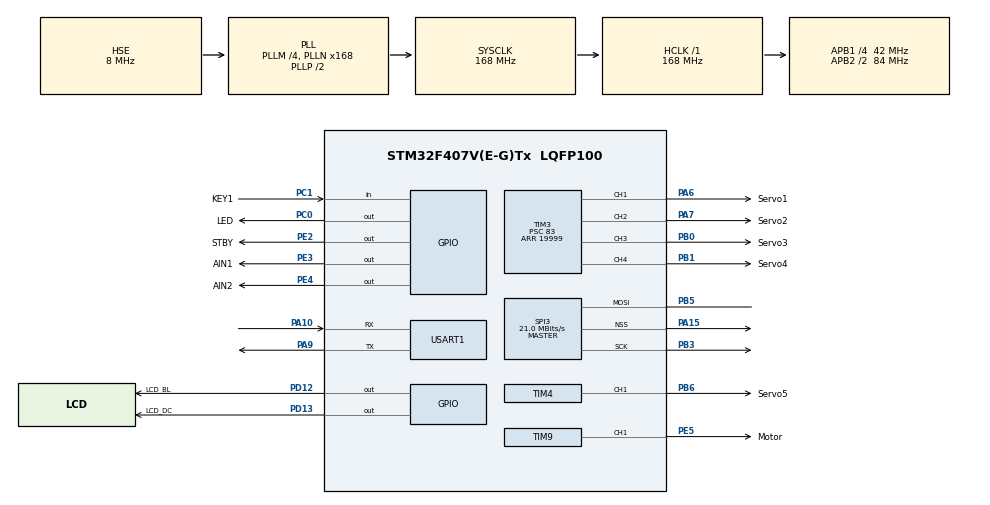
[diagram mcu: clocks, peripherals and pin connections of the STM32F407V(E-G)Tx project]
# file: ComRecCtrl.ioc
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Dma.Request0=SPI3_TX
Dma.SPI3_TX.0.Direction=DMA_MEMORY_TO_PERIPH
Dma.SPI3_TX.0.FIFOMode=DMA_FIFOMODE_DISABLE
Dma.SPI3_TX.0.Instance=DMA1_Stream5
Dma.SPI3_TX.0.MemDataAlignment=DMA_MDATAALIGN_HALFWORD
Dma.SPI3_TX.0.MemInc=DMA_MINC_ENABLE
Dma.SPI3_TX.0.Mode=DMA_NORMAL
Dma.SPI3_TX.0.PeriphDataAlignment=DMA_PDATAALIGN_HALFWORD
Dma.SPI3_TX.0.PeriphInc=DMA_PINC_DISABLE
Dma.SPI3_TX.0.Priority=DMA_PRIORITY_HIGH
Mcu.Family=STM32F4
Mcu.Name=STM32F407V(E-G)Tx
Mcu.Package=LQFP100
NVIC.DMA1_Stream5_IRQn=true\:2\:0\:true\:false\:true\:false\:true\:true
NVIC.PriorityGroup=NVIC_PRIORITYGROUP_4
NVIC.SPI3_IRQn=true\:3\:0\:true\:false\:true\:true\:true\:true
NVIC.USART1_IRQn=true\:1\:0\:true\:false\:true\:true\:true\:true
PA10.Mode=Asynchronous
PA10.Signal=USART1_RX
PA13.Mode=Serial_Wire
PA13.Signal=SYS_JTMS-SWDIO
PA14.Mode=Serial_Wire
PA14.Signal=SYS_JTCK-SWCLK
PA15.Mode=NSS_Signal_Hard_Output
PA15.Signal=SPI3_NSS
PA6.GPIO_Label=Servo1
PA6.Signal=S_TIM3_CH1
PA7.GPIO_Label=Servo2
PA7.Signal=S_TIM3_CH2
PA9.Mode=Asynchronous
PA9.Signal=USART1_TX
PB0.GPIO_Label=Servo3
PB0.Signal=S_TIM3_CH3
PB1.GPIO_Label=Servo4
PB1.Signal=S_TIM3_CH4
PB3.Mode=Simplex_Bidirectional_Master
PB3.Signal=SPI3_SCK
PB5.Mode=Simplex_Bidirectional_Master
PB5.Signal=SPI3_MOSI
PB6.GPIO_Label=Servo5
PB6.Signal=S_TIM4_CH1
PC0.GPIO_Label=LED
PC0.GPIO_PuPd=GPIO_PULLUP
PC0.Signal=GPIO_Output
PC1.GPIO_Label=KEY1
PC1.GPIO_PuPd=GPIO_PULLUP
PC1.Signal=GPIO_Input
PD12.GPIO_Label=LCD_BL
PD12.Signal=GPIO_Output
PD13.GPIO_Label=LCD_DC
PD13.Signal=GPIO_Output
PE2.GPIO_Label=STBY
PE2.Signal=GPIO_Output
PE3.GPIO_Label=AIN1
PE3.Signal=GPIO_Output
PE4.GPIO_Label=AIN2
PE4.Signal=GPIO_Output
PE5.GPIO_Label=Motor
PE5.Signal=S_TIM9_CH1
PH0-OSC_IN.Mode=HSE-External-Oscillator
PH0-OSC_IN.Signal=RCC_OSC_IN
PH1-OSC_OUT.Mode=HSE-External-Oscillator
PH1-OSC_OUT.Signal=RCC_OSC_OUT
ProjectManager.HeapSize=0x200
ProjectManager.StackSize=0x400
ProjectManager.TargetToolchain=CMake
RCC.48MHZClocksFreq_Value=84000000
RCC.AHBFreq_Value=168000000
RCC.APB1CLKDivider=RCC_HCLK_DIV4
RCC.APB1Freq_Value=42000000
RCC.APB1TimFreq_Value=84000000
RCC.APB2CLKDivider=RCC_HCLK_DIV2
RCC.APB2Freq_Value=84000000
RCC.APB2TimFreq_Value=168000000
RCC.CortexFreq_Value=168000000
RCC.HCLKFreq_Value=168000000
RCC.HSE_VALUE=8000000
RCC.HSI_VALUE=16000000
RCC.LSE_VALUE=32768
RCC.PLLM=4
RCC.PLLN=168
RCC.PLLSourceVirtual=RCC_PLLSOURCE_HSE
RCC.SYSCLKFreq_VALUE=168000000
RCC.SYSCLKSource=RCC_SYSCLKSOURCE_PLLCLK
RCC.VCOOutputFreq_Value=336000000
SH.S_TIM3_CH1.0=TIM3_CH1,PWM Generation1 CH1
SH.S_TIM3_CH2.0=TIM3_CH2,PWM Generation2 CH2
SH.S_TIM3_CH3.0=TIM3_CH3,PWM Generation3 CH3
SH.S_TIM3_CH4.0=TIM3_CH4,PWM Generation4 CH4
SH.S_TIM4_CH1.0=TIM4_CH1,PWM Generation1 CH1
SH.S_TIM9_CH1.0=TIM9_CH1,PWM Generation1 CH1
SPI3.CalculateBaudRate=21.0 MBits/s
SPI3.Direction=SPI_DIRECTION_1LINE
SPI3.Mode=SPI_MODE_MASTER
SPI3.VirtualNSS=VM_NSSHARD
SPI3.VirtualType=VM_MASTER
TIM3.Channel-PWM\ Generation1\ CH1=TIM_CHANNEL_1
TIM3.Channel-PWM\ Generation2\ CH2=TIM_CHANNEL_2
TIM3.Channel-PWM\ Generation3\ CH3=TIM_CHANNEL_3
TIM3.Channel-PWM\ Generation4\ CH4=TIM_CHANNEL_4
TIM3.Period=19999
TIM3.Prescaler=83
TIM3.Pulse-PWM\ Generation1\ CH1=1500
TIM4.Channel-PWM\ Generation1\ CH1=TIM_CHANNEL_1
TIM4.Period=19999
TIM4.Prescaler=83
TIM4.Pulse-PWM\ Generation1\ CH1=1500
TIM9.Channel-PWM\ Generation1\ CH1=TIM_CHANNEL_1
TIM9.Period=99
TIM9.Prescaler=83
USART1.VirtualMode=VM_ASYNC
VP_TIM3_VS_ClockSourceINT.Mode=Internal
VP_TIM4_VS_ClockSourceINT.Mode=Internal
VP_TIM9_VS_ClockSourceINT.Mode=Internal
board=custom

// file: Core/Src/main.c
/* USER CODE BEGIN Header */
/**
  ******************************************************************************
  * @file           : main.c
  * @brief          : Main program body
  ******************************************************************************
  * @attention
  *
  * Copyright (c) 2026 STMicroelectronics.
  * All rights reserved.
  *
  * This software is licensed under terms that can be found in the LICENSE file
  * in the root directory of this software component.
  * If no LICENSE file comes with this software, it is provided AS-IS.
  *
  ******************************************************************************
  */
/* USER CODE END Header */
#include "main.h"
#include "dma.h"
#include "spi.h"
#include "tim.h"
#include "usart.h"
#include "gpio.h"

/* USER CODE BEGIN Includes */
#include "lcd_spi_169.h"
#include "lvgl/lvgl.h"
#include "lvgl_port_disp.h"
#include "motor.h"
#include "servo.h"
#include "sorting_task.h"
#include "ui_app.h"
/* USER CODE END Includes */

/* USER CODE BEGIN PV */
static uint8_t s_conveyor_running = 0U;
static GPIO_PinState s_key1_last_sample = GPIO_PIN_RESET;
static GPIO_PinState s_key1_stable = GPIO_PIN_RESET;
static uint32_t s_key1_change_tick = 0U;

/* USER CODE END PV */

void SystemClock_Config(void);
/* USER CODE BEGIN PFP */
static void Key1_StartControl_Service(void);

/* USER CODE END PFP */

/* USER CODE BEGIN 0 */
static void Key1_StartControl_Service(void)
{
  const uint32_t key_debounce_ms = 30U;
  uint32_t now = HAL_GetTick();
  GPIO_PinState sample = HAL_GPIO_ReadPin(KEY1_GPIO_Port, KEY1_Pin);

  if (sample != s_key1_last_sample)
  {
    s_key1_last_sample = sample;
    s_key1_change_tick = now;
  }

  if ((now - s_key1_change_tick) < key_debounce_ms)
  {
    return;
  }

  if (sample == s_key1_stable)
  {
    return;
  }

  s_key1_stable = sample;

  if (s_key1_stable == GPIO_PIN_RESET)
  {
    if (s_conveyor_running == 0U)
    {
      Motor_SetSpeed(MOTOR_FORWARD, 20U);
      update_conveyor_status(true);
      s_conveyor_running = 1U;
    }
    else
    {
      Motor_Stop();
      update_conveyor_status(false);
      s_conveyor_running = 0U;
    }
  }
}

/* USER CODE END 0 */

int main(void)
{

  /* MCU Configuration--------------------------------------------------------*/

  /* Reset of all peripherals, Initializes the Flash interface and the Systick. */
  HAL_Init();

  /* Configure the system clock */
  SystemClock_Config();

  /* Initialize all configured peripherals */
  MX_GPIO_Init();
  MX_DMA_Init();
  MX_SPI3_Init();
  MX_TIM3_Init();
  MX_TIM4_Init();
  MX_TIM9_Init();
  MX_USART1_UART_Init();
  /* USER CODE BEGIN 2 */

  /* 1. 初始化 LCD 硬件 */
  SPI_LCD_Init();

  /* 2. 初始化 LVGL 内核 */
  lv_init();

  /* 3. 注册显示驱动 */
  lvgl_port_disp_init();

  /* 4. 启动 UI 应用（开机动画 + 主监控页） */
  ui_app_init();

  Servo_Init();
  Motor_Init();
  Motor_Stop();
  update_conveyor_status(false);

  s_key1_last_sample = HAL_GPIO_ReadPin(KEY1_GPIO_Port, KEY1_Pin);
  s_key1_stable = s_key1_last_sample;
  s_key1_change_tick = HAL_GetTick();

  Sorting_Init(&huart1);

  /* USER CODE END 2 */

  /* Infinite loop */
  /* USER CODE BEGIN WHILE */
  uint32_t lv_last_ms = 0;
  while (1)
  {

    /* 基于时间戳调用 lv_timer_handler，避免 HAL_Delay 阻塞累积误差 */
    uint32_t now = HAL_GetTick();
    if (now - lv_last_ms >= 1U)   /* 每 1ms 调用一次，让 LVGL 尽快响应 */
    {
      lv_last_ms = now;
      lv_timer_handler();
    }

    Key1_StartControl_Service();
    Sorting_Service();
    /* USER CODE END WHILE */

  }
}

void SystemClock_Config(void)
{
  RCC_OscInitTypeDef RCC_OscInitStruct = {0};
  RCC_ClkInitTypeDef RCC_ClkInitStruct = {0};

  /** Configure the main internal regulator output voltage
  */
  __HAL_RCC_PWR_CLK_ENABLE();
  __HAL_PWR_VOLTAGESCALING_CONFIG(PWR_REGULATOR_VOLTAGE_SCALE1);

  /** Initializes the RCC Oscillators according to the specified parameters
  * in the RCC_OscInitTypeDef structure.
  */
  RCC_OscInitStruct.OscillatorType = RCC_OSCILLATORTYPE_HSE;
  RCC_OscInitStruct.HSEState = RCC_HSE_ON;
  RCC_OscInitStruct.PLL.PLLState = RCC_PLL_ON;
  RCC_OscInitStruct.PLL.PLLSource = RCC_PLLSOURCE_HSE;
  RCC_OscInitStruct.PLL.PLLM = 4;
  RCC_OscInitStruct.PLL.PLLN = 168;
  RCC_OscInitStruct.PLL.PLLP = RCC_PLLP_DIV2;
  RCC_OscInitStruct.PLL.PLLQ = 4;
  if (HAL_RCC_OscConfig(&RCC_OscInitStruct) != HAL_OK)
  {
    Error_Handler();
  }

  /** Initializes the CPU, AHB and APB buses clocks
  */
  RCC_ClkInitStruct.ClockType = RCC_CLOCKTYPE_HCLK|RCC_CLOCKTYPE_SYSCLK
                              |RCC_CLOCKTYPE_PCLK1|RCC_CLOCKTYPE_PCLK2;
  RCC_ClkInitStruct.SYSCLKSource = RCC_SYSCLKSOURCE_PLLCLK;
  RCC_ClkInitStruct.AHBCLKDivider = RCC_SYSCLK_DIV1;
  RCC_ClkInitStruct.APB1CLKDivider = RCC_HCLK_DIV4;
  RCC_ClkInitStruct.APB2CLKDivider = RCC_HCLK_DIV2;

  if (HAL_RCC_ClockConfig(&RCC_ClkInitStruct, FLASH_LATENCY_5) != HAL_OK)
  {
    Error_Handler();
  }
}

void Error_Handler(void)
{
  __disable_irq();
  while (1)
  {
  }
}
